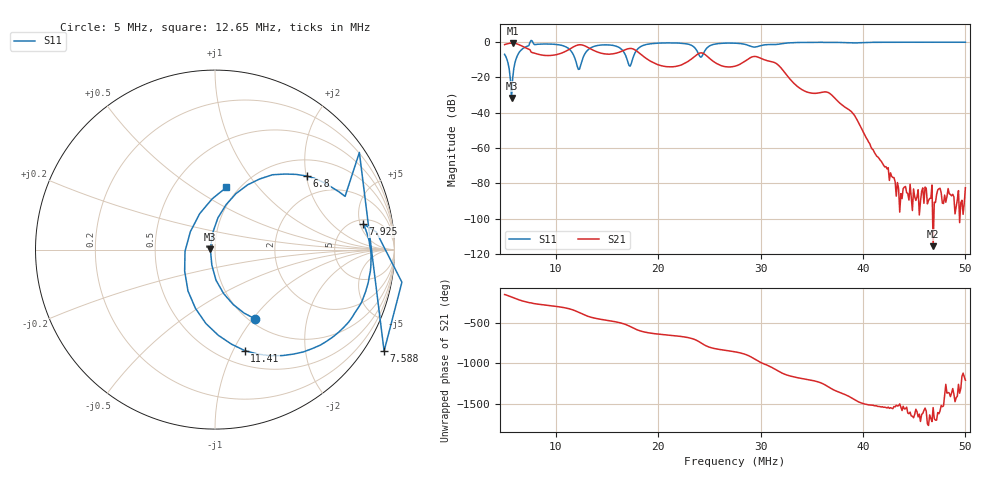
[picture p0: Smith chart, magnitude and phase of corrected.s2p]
! S11/S21 only; reverse parameters are placeholders. Device calibration unverified.
! [Saver CAL applied] C:\Users\aknya\MyProjects\rf-simulator\calibration2.cal | Ideal standards assumed | Input: NanoVNA F V2 profile | COM3 | 2026-09-08T12:19:09.6804447-04:00 | device calibration unverified
# HZ S RI R 50
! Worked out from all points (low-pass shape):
!   401 points, 5 MHz to 50 MHz, reference 50 ohm
!   highest |S21| = -0.67 dB at 5.787 MHz (marker M1); lowest = -115.4 dB at 46.85 MHz (marker M2)
!   |S21| within 3 dB of the highest: start of sweep to 7.184 MHz; 11.47 MHz to 13.32 MHz (1.847 MHz wide, 14.9 % of centre)
!   lowest |S11| = -31.7 dB at 5.675 MHz (marker M3), VSWR 1.05, Z = 47.5 + j0.228 ohm
!   |S11| at or under -10 dB: 5.234 MHz to 6.101 MHz (867.1 kHz wide, 15.3 % of centre); 11.91 MHz to 12.59 MHz (687.7 kHz wide, 5.61 % of centre); 16.96 MHz to 17.48 MHz (518.7 kHz wide, 3.01 % of centre)
!   S12 and S22 are empty: the file has one direction only
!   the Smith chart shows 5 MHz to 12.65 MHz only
!   S11 on the Smith chart (normalised r, x): 5 MHz: 1.06, -1.02; 6.8 MHz: 1.40, +2.01; 7.588 MHz: -0.64, -3.50; 7.925 MHz: 5.87, +5.64; 11.41 MHz: 0.65, -1.11; 12.65 MHz: 0.88, +0.70
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5000000  0.2217 -0.3851  -0.6791 -0.4893  0 0  0 0
5675000  -0.0259 0.0024  -0.9189 -0.0851  0 0  0 0
5787500  -0.0129 0.0932  -0.9254 0.00664  0 0  0 0
6800000  0.5112 0.4101  -0.5153 0.5319  0 0  0 0
7587500  0.9421 -0.5654  -0.1965 0.4785  0 0  0 0
7925000  0.8261 0.1427  -0.1011 0.4698  0 0  0 0
1.14125e7  0.166 -0.5629  0.5229 0.3708  0 0  0 0
1.25375e7  -0.0159 0.2828  0.7534 -0.3307  0 0  0 0
1.265e7  0.0638 0.3471  0.6989 -0.4066  0 0  0 0
1.49e7  0.8132 -0.1501  -0.1026 -0.4426  0 0  0 0
1.63625e7  0.3393 -0.5413  -0.3969 -0.3556  0 0  0 0
1.715e7  -0.197 -0.086  -0.6457 -0.0597  0 0  0 0
1.805e7  0.3687 0.5399  -0.343 0.3797  0 0  0 0
2.0075e7  0.9231 0.046  0.0263 0.2206  0 0  0 0
2.40125e7  0.3331 -0.244  0.469 -0.0995  0 0  0 0
2.75e7  0.8129 -0.4332  -0.149 -0.1423  0 0  0 0
3.12125e7  0.7243 -0.4312  0.2499 0.1008  0 0  0 0
3.50375e7  0.7021 -0.6693  -0.0234 -0.0268  0 0  0 0
3.88625e7  0.5343 -0.7683  0.0105 0.00238  0 0  0 0
4.2575e7  0.4418 -0.8713  -5.9e-05 -0.000107  0 0  0 0
4.685e7  0.2779 -0.9413  -5.8e-07 -1.59e-06  0 0  0 0
5e7  0.1562 -0.9669  -4.87e-05 -5.82e-05  0 0  0 0
